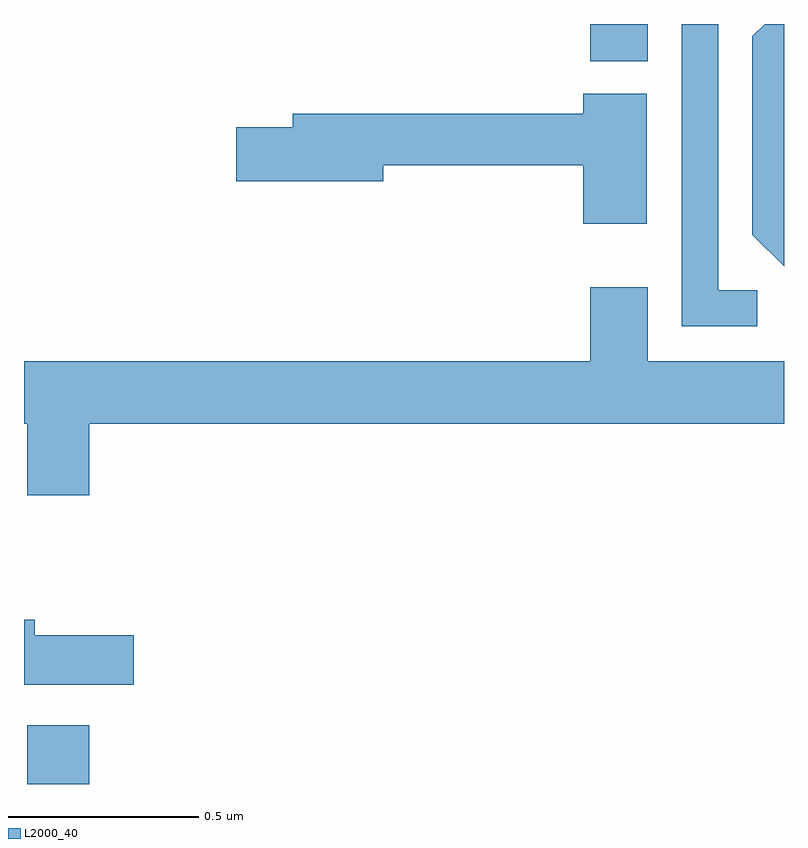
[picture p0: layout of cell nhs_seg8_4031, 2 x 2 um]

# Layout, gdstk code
import gdstk
lib = gdstk.Library(unit=1e-6, precision=1e-09)
def R(c, l, rs):  # rectangles x0, y0, x1, y1
    for r in rs: c.add(gdstk.rectangle(r[:2], r[2:], *l))
def P(c, l, *ps):  # polygons
    for p in ps: c.add(gdstk.Polygon(p, *l))
L2000_40 = (2000, 40)

nhs_seg8_4031 = lib.new_cell('nhs_seg8_4031')
R(nhs_seg8_4031, L2000_40, [(165.008,1100.9,165.172,1101.055), (166.49,1102.802,166.642,1102.9)])
P(nhs_seg8_4031, L2000_40, [(166.93,1102.2),(166.827,1102.2),(166.827,1102.9),(166.731,1102.9),(166.731,1102.104),(166.93,1102.104)],
  [(167,1102.9),(166.949,1102.9),(166.917,1102.868),(166.917,1102.346),(167,1102.262)],
  [(166.639,1102.717),(166.472,1102.717),(166.472,1102.664),(165.707,1102.664),(165.707,1102.628),(165.558,1102.628),(165.558,1102.486),(165.946,1102.486),(165.946,1102.528),(166.472,1102.528),(166.472,1102.374),(166.639,1102.374)],
  [(165.172,1101.848),(167,1101.848),(167,1102.012),(166.642,1102.012),(166.642,1102.207),(166.49,1102.207),(166.49,1102.012),(165,1102.012),(165,1101.848),(165.008,1101.848),(165.008,1101.66),(165.172,1101.66)],
  [(165.289,1101.291),(165.028,1101.291),(165.028,1101.332),(165,1101.332),(165,1101.161),(165.289,1101.161)])

lib.write_gds('nhs_seg8_4031.gds')
